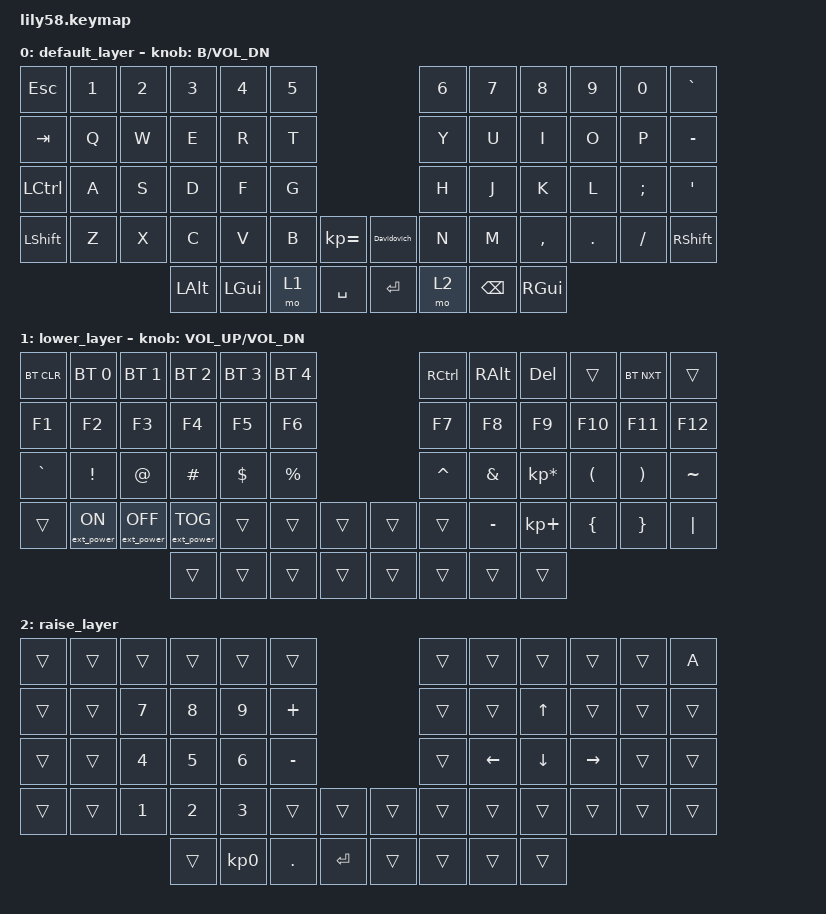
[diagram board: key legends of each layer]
/*
 * Copyright (c) 2020 The ZMK Contributors
 *
 * SPDX-License-Identifier: MIT
 */

#include <behaviors.dtsi>
#include <dt-bindings/zmk/bt.h>
#include <dt-bindings/zmk/ext_power.h>
#include <dt-bindings/zmk/keys.h>

/ {
    macros {
        dwdmpw: dwdmpw {
            compatible = "zmk,behavior-macro";
            #binding-cells = <0>;
            bindings = <&none &kp LS(D) &kp W &kp D &kp M &kp F &kp I &kp B &kp E &kp R &kp O &kp P &kp T &kp I &kp C &kp NUMBER_0 &kp NUMBER_3 &kp NUMBER_1 &kp NUMBER_2 &kp NUMBER_1 &kp NUMBER_9 &kp NUMBER_9 &kp NUMBER_3 &kp EXCL>;
            label = "DWDMPW";
            tap-ms = <5>;
        };

        Davidovich: Davidovich {
            compatible = "zmk,behavior-macro";
            #binding-cells = <0>;
            bindings = <&none &kp LPAR &kp LS(D) &kp A &kp V &kp I &kp D &kp O &kp V &kp I &kp C &kp H &kp RPAR>;
            label = "DAVIDOVICH";
            wait-ms = <5>;
        };
    };

    keymap {
        compatible = "zmk,keymap";

        default_layer {
            // ------------------------------------------------------------------------------------------------------------
            // |  ESC  |  1  |  2  |  3   |  4   |  5   |                   |  6   |  7    |  8    |  9   |   0   |   `   |
            // |  TAB  |  Q  |  W  |  E   |  R   |  T   |                   |  Y   |  U    |  I    |  O   |   P   |   -   |
            // |  CTRL |  A  |  S  |  D   |  F   |  G   |                   |  H   |  J    |  K    |  L   |   ;   |   '   |
            // | SHIFT |  Z  |  X  |  C   |  V   |  B   |   "["  |  |  "]"  |  N   |  M    |  ,    |  .   |   /   | SHIFT |
            //                     | ALT  | GUI  | LOWER|  SPACE |  | ENTER | RAISE| BSPC  | GUI   |

            bindings = <
&kp ESC    &kp N1  &kp N2  &kp N3    &kp N4    &kp N5                               &kp N6  &kp N7    &kp N8     &kp N9   &kp N0    &kp GRAVE
&kp TAB    &kp Q   &kp W   &kp E     &kp R     &kp T                                &kp Y   &kp U     &kp I      &kp O    &kp P     &kp MINUS
&kp LCTRL  &kp A   &kp S   &kp D     &kp F     &kp G                                &kp H   &kp J     &kp K      &kp L    &kp SEMI  &kp SQT
&kp LSHFT  &kp Z   &kp X   &kp C     &kp V     &kp B   &kp KP_EQUAL    &Davidovich  &kp N   &kp M     &kp COMMA  &kp DOT  &kp FSLH  &kp RSHFT
                           &kp LALT  &kp LGUI  &mo 1   &kp SPACE       &kp ENTER    &mo 2   &kp BSPC  &kp RGUI
            >;

            sensor-bindings = <&inc_dec_kp B C_VOL_DN>;
        };

        lower_layer {
            // ------------------------------------------------------------------------------------------------------------
            // | BTCLR | BT1 | BT2 |  BT3 |  BT4 |  BT5 |                   |      |       |       |      |       |       |
            // |  F1   |  F2 |  F3 |  F4  |  F5  |  F6  |                   |  F7  |  F8   |  F9   |  F10 |  F11  |  F12  |
            // |   `   |  !  |  @  |  #   |  $   |  %   |                   |  ^   |  &    |  *    |  (   |   )   |   ~   |
            // |       |     |     |      |      |      |        |  |       |      |  _    |  +    |  {   |   }   |  "|"  |
            //                     |      |      |      |        |  |       |      |       |       |

            bindings = <
&bt BT_CLR  &bt BT_SEL 0      &bt BT_SEL 1       &bt BT_SEL 2       &bt BT_SEL 3  &bt BT_SEL 4                    &kp RCTRL  &kp RIGHT_ALT  &kp DELETE       &trans    &bt BT_NXT  &trans
&kp F1      &kp F2            &kp F3             &kp F4             &kp F5        &kp F6                          &kp F7     &kp F8         &kp F9           &kp F10   &kp F11     &kp F12
&kp GRAVE   &kp EXCL          &kp AT             &kp HASH           &kp DOLLAR    &kp PRCNT                       &kp CARET  &kp AMPS       &kp KP_MULTIPLY  &kp LPAR  &kp RPAR    &kp TILDE
&trans      &ext_power EP_ON  &ext_power EP_OFF  &ext_power EP_TOG  &trans        &trans        &trans    &trans  &trans     &kp MINUS      &kp KP_PLUS      &kp LBRC  &kp RBRC    &kp PIPE
                                                 &trans             &trans        &trans        &trans    &trans  &trans     &trans         &trans
            >;

            sensor-bindings = <&inc_dec_kp C_VOL_UP C_VOL_DN>;
        };

        raise_layer {
            // ------------------------------------------------------------------------------------------------------------
            // |       |     |     |      |      |      |                   |      |       |       |      |       |       |
            // |   `   |  1  |  2  |  3   |  4   |  5   |                   |  6   |   7   |   8   |  9   |   0   |       |
            // |   F1  |  F2 |  F3 |  F4  |  F5  |  F6  |                   |      |   <-  |   v   |  ^   |  ->   |       |
            // |   F7  |  F8 |  F9 |  F10 |  F11 |  F12 |        |  |       |  +   |   -   |   =   |  [   |   ]   |   \   |
            //                     |      |      |      |        |  |       |      |       |       |

            bindings = <
&trans  &trans  &trans        &trans        &trans           &trans                           &trans  &trans    &trans        &trans     &trans  &kp A
&trans  &trans  &kp N7        &kp N8        &kp N9           &kp PLUS                         &trans  &trans    &kp UP_ARROW  &trans     &trans  &trans
&trans  &trans  &kp NUMBER_4  &kp N5        &kp NUMBER_6     &kp MINUS                        &trans  &kp LEFT  &kp DOWN      &kp RIGHT  &trans  &trans
&trans  &trans  &kp NUMBER_1  &kp NUMBER_2  &kp NUMBER_3     &trans      &trans       &trans  &trans  &trans    &trans        &trans     &trans  &trans
                              &trans        &kp KP_NUMBER_0  &kp PERIOD  &kp ENTER    &trans  &trans  &trans    &trans
            >;
        };
    };
};
